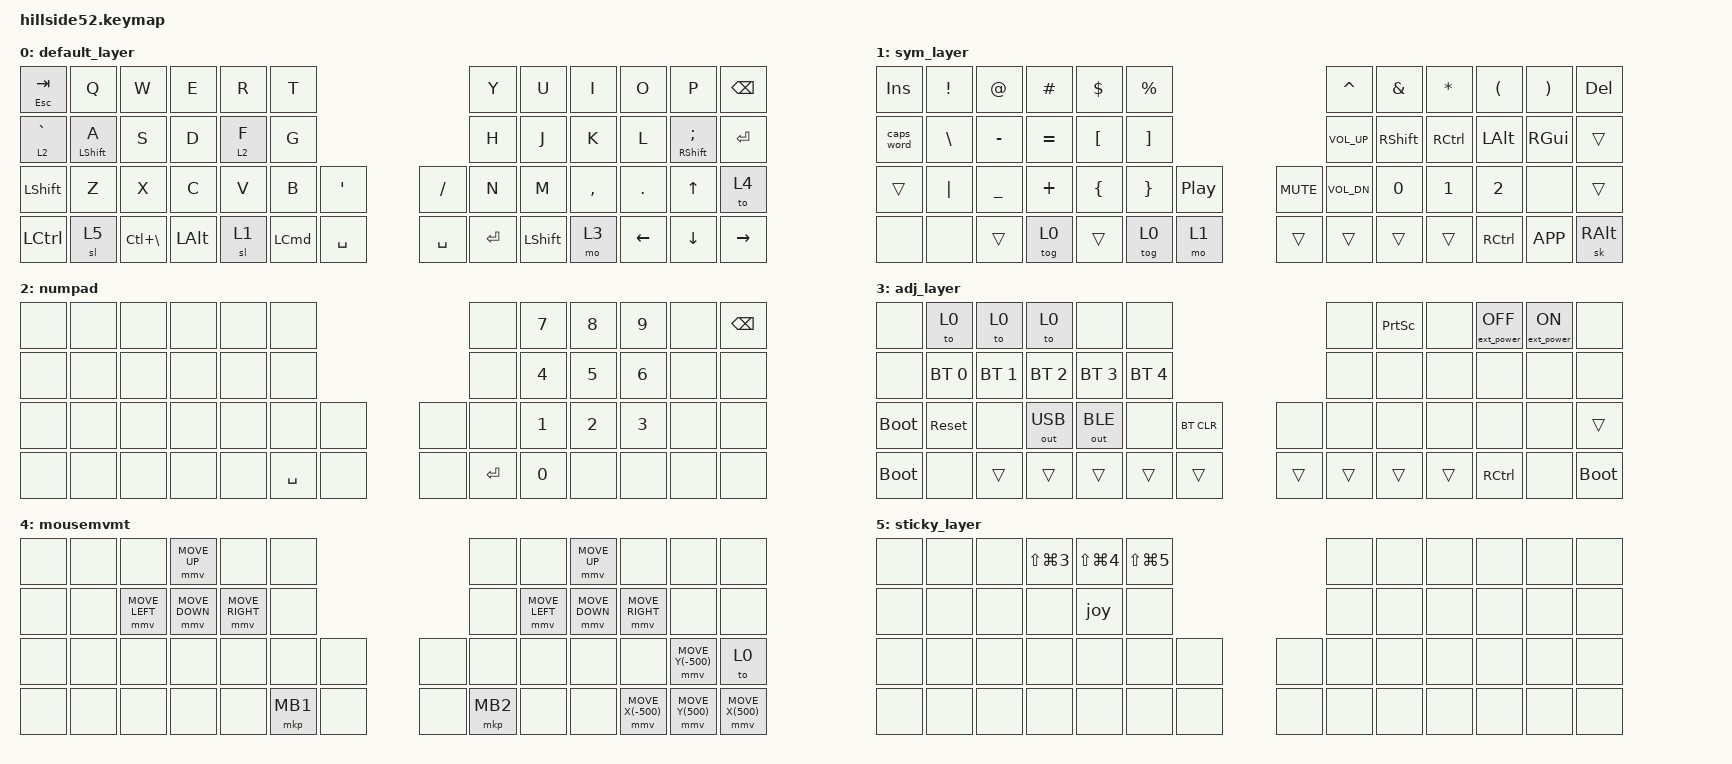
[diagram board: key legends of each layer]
/*
 * Copyright (c) 2021-2022 The ZMK Contributors
 *
 * SPDX-License-Identifier: MIT
 */

#include <behaviors.dtsi>
#include <dt-bindings/zmk/bt.h>
#include <dt-bindings/zmk/ext_power.h>
#include <dt-bindings/zmk/keys.h>
#include <dt-bindings/zmk/outputs.h>
#include <dt-bindings/zmk/pointing.h>

#define QWERTY_L 0
#define DVORAK_L 1
#define COLEMK_L 2
#define NAV_L    3
#define SYM_L    4
#define ADJ_L    5
#define Undo   LC(Z)
#define Cut    LC(X)
#define Copy   LC(C)
#define Paste  LC(V)
#define Redo   LC(Y)

/ {
    behaviors {
        HMR: HMR {
            compatible = "zmk,behavior-hold-tap";
            label = "HMR";
            bindings = <&kp>, <&kp>;

            #binding-cells = <2>;
            tapping-term-ms = <280>;
            quick-tap-ms = <175>;
            require-prior-idle-ms = <150>;
            flavor = "balanced";
            hold-trigger-key-positions = <0 1 2 3 4 5 12 13 14 15 16 17 24 25 26 27 28 29 30 38 39 40 41 42 43 44 45 46 47 48 31>;
        };

        HML: HML {
            compatible = "zmk,behavior-hold-tap";
            label = "HML";
            bindings = <&kp>, <&kp>;

            #binding-cells = <2>;
            flavor = "tap-preferred";
            tapping-term-ms = <280>;
            quick-tap-ms = <175>;
            require-prior-idle-ms = <150>;
            hold-trigger-key-positions = <6 7 8 9 10 11 18 19 20 21 22 23 31 32 33 34 35 36 37 44 45 46 47 48 49 50 51 41 42 43 30>;
        };
    };

    macros {
        joy: joy {
            compatible = "zmk,behavior-macro";
            #binding-cells = <0>;
            bindings = <&kp COLON &kp J &kp O &kp SPACE>;
            label = "JOY";
        };
    };

    keymap {
        compatible = "zmk,keymap";

        default_layer {
            /* QWERTY
 * -------------------------------------------------------------------------------------------------------------------------------------
 * | `     |   Q   |   W   |   E   |   R   |   T   |-----------------------------------|   Y   |   U   |   I   |   O   |   P   | BKSPC |
 * | TAB   |   A   |   S   |   D   |   F   |   G   |-----------------------------------|   H   |   J   |   K   |   L   |   ;   | ENTER |
 * | SHIFT |   Z   |   X   |   C   |   V   |   B   |   '   |-------------------|   /   |   N   |   M   |   ,   |   .   |  Up   | SHIFT |
 * | Mute  |  ESC  | CTRL  |-------|  GUI  |  ALT  |SK SHFT|  Nav  |---|  Sym  | SPACE |  ALT  |  GUI  |-------| Left  | Down  | Right |
 */

            bindings = <
&mt ESCAPE TAB    &kp Q              &kp W              &kp E  &kp R         &kp T                                                     &kp Y           &kp U  &kp I      &kp O     &kp P                       &kp BSPC
&lt 2 GRAVE       &HML LEFT_SHIFT A  &kp S              &kp D  &lt 2 F       &kp G                                                     &kp H           &kp J  &kp K      &kp L     &HMR RIGHT_SHIFT SEMICOLON  &kp ENTER
&kp LSHFT         &kp Z              &kp X              &kp C  &kp V         &kp B  &kp SQT                                 &kp SLASH  &kp N           &kp M  &kp COMMA  &kp DOT   &kp UP                      &to 4
&kp LEFT_CONTROL  &sl 5              &kp LC(BACKSLASH)         &kp LEFT_ALT  &sl 1  &kp LEFT_COMMAND  &kp SPACE  &kp SPACE  &kp ENTER  &kp LEFT_SHIFT  &mo 3             &kp LEFT  &kp DOWN                    &kp RIGHT
            >;
        };

        sym_layer {
            /* SYM
 * -------------------------------------------------------------------------------------------------------------------------------------
 * | INS   |   !   |   @   |   #   |   $   |   %   |-----------------------------------|   ^   |   &   |   *   |   (   |   )   | DELETE|
 * | CAPS  |   \   |   -   |   =   |   [   |   ]   |-----------------------------------| Vol+  | Shift | Ctrl  | Alt   | Gui   | ENTER |
 * | Shift |   |   |   _   |   +   |   {   |   }   | Play  |-------------------| Mute  | Vol-  |  N0   |  N1   |  N2   |       | SHIFT |
 * |       |       |       |-------|       |       |       |  ADJ_L |---|      |       |       |       |-------| CTRL  | MENU  |SkAltGr|
 */

            bindings = <
&kp INS     &kp EXCL  &kp AT     &kp HASH   &kp DOLLAR  &kp PERCENT                                       &kp CARET     &kp AMPS   &kp ASTRK  &kp LPAR   &kp RPAR   &kp DEL
&caps_word  &kp BSLH  &kp MINUS  &kp EQUAL  &kp LBKT    &kp RBKT                                          &kp C_VOL_UP  &kp RSHFT  &kp RCTRL  &kp LALT   &kp RGUI   &trans
&trans      &kp PIPE  &kp UNDER  &kp PLUS   &kp LBRC    &kp RBRC     &kp C_PP                 &kp C_MUTE  &kp C_VOL_DN  &kp N0     &kp N1     &kp N2     &none      &trans
&none       &none     &trans                &tog 0      &trans       &tog 0    &mo 1  &trans  &trans      &trans        &trans                &kp RCTRL  &kp K_APP  &sk RALT
            >;
        };

        numpad {
            bindings = <
&none  &none  &none  &none  &none  &none                                      &none         &kp N7  &kp N8  &kp N9  &none  &kp BACKSPACE
&none  &none  &none  &none  &none  &none                                      &none         &kp N4  &kp N5  &kp N6  &none  &none
&none  &none  &none  &none  &none  &none  &none                    &none      &none         &kp N1  &kp N2  &kp N3  &none  &none
&none  &none  &none         &none  &none  &kp SPACE  &none  &none  &kp ENTER  &kp NUMBER_0  &none           &none   &none  &none
            >;
        };

        adj_layer {
            /* ADJUST
 * -------------------------------------------------------------------------------------------------------------------------------------
 * |       | QWERTY| DVORAK| COLEMK|       |       |-----------------------------------|       |Prt Scr|       | EP_OFF| EP_ON |       |
 * |       | BT 0  | BT 1  | BT 2  | BT 3  | BT 4  |-----------------------------------|       |       |       |       |       |       |
 * | BOOTL | RESET |       |OUT_USB|OUT_BLE|       |BT CLR |-------------------|       |       |       |       |       |       | SHIFT |
 * ----------------|       |-------|       |       |       |       |---|       |       |       |       |-------| CTRL  |----------------
 */

            bindings = <
&none        &to 0         &to 0         &to 0         &none         &none                                             &none   &kp PRINTSCREEN  &none  &ext_power EP_OFF  &ext_power EP_ON  &none
&none        &bt BT_SEL 0  &bt BT_SEL 1  &bt BT_SEL 2  &bt BT_SEL 3  &bt BT_SEL 4                                      &none   &none            &none  &none              &none             &none
&bootloader  &sys_reset    &none         &out OUT_USB  &out OUT_BLE  &none         &bt BT_CLR                  &none   &none   &none            &none  &none              &none             &trans
&bootloader  &none         &trans                      &trans        &trans        &trans      &trans  &trans  &trans  &trans  &trans                  &kp RCTRL          &none             &bootloader
            >;
        };

        mousemvmt {
            bindings = <
&none  &none  &none           &mmv MOVE_UP    &none            &none                                    &none  &none           &mmv MOVE_UP    &none              &none              &none
&none  &none  &mmv MOVE_LEFT  &mmv MOVE_DOWN  &mmv MOVE_RIGHT  &none                                    &none  &mmv MOVE_LEFT  &mmv MOVE_DOWN  &mmv MOVE_RIGHT    &none              &none
&none  &none  &none           &none           &none            &none  &none                   &none     &none  &none           &none           &none              &mmv MOVE_Y(-500)  &to 0
&none  &none  &none                           &none            &none  &mkp MB1  &none  &none  &mkp MB2  &none  &none                           &mmv MOVE_X(-500)  &mmv MOVE_Y(500)   &mmv MOVE_X(500)
            >;
        };

        sticky_layer {
            bindings = <
&none  &none  &none  &kp LS(LG(NUMBER_3))  &kp LS(LG(NUMBER_4))  &kp LS(LG(N5))                              &none  &none  &none  &none  &none  &none
&none  &none  &none  &none                 &joy                  &none                                       &none  &none  &none  &none  &none  &none
&none  &none  &none  &none                 &none                 &none           &none                &none  &none  &none  &none  &none  &none  &none
&none  &none  &none                        &none                 &none           &none  &none  &none  &none  &none  &none         &none  &none  &none
            >;
        };
    };
};
